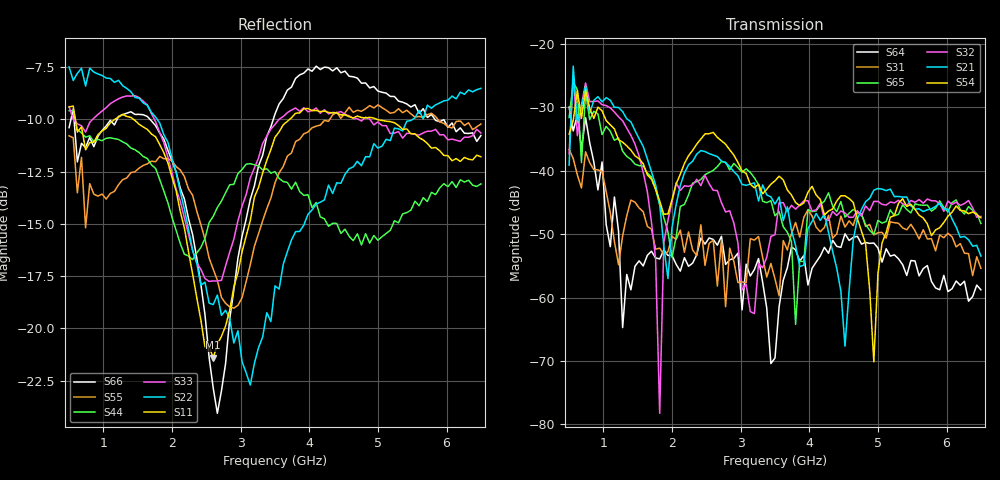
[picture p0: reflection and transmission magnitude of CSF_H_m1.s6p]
!Keysight Technologies,M9804A,MY58100912,A.14.10.03
!Date: Thursday, April 27, 2023 10:28:33
!Correction: S11(C  6-Port  )
!S12(C  6-Port  )
!S13(C  6-Port  )
!S14(C  6-Port  )
!S15(C  6-Port  )
!S16(C  6-Port  )
!S21(C  6-Port  )
!S22(C  6-Port  )
!S23(C  6-Port  )
!S24(C  6-Port  )
!S25(C  6-Port  )
!S26(C  6-Port  )
!S31(C  6-Port  )
!S32(C  6-Port  )
!S33(C  6-Port  )
!S34(C  6-Port  )
!S35(C  6-Port  )
!S36(C  6-Port  )
!S41(C  6-Port  )
!S42(C  6-Port  )
!S43(C  6-Port  )
!S44(C  6-Port  )
!S45(C  6-Port  )
!S46(C  6-Port  )
!S51(C  6-Port  )
!S52(C  6-Port  )
!S53(C  6-Port  )
!S54(C  6-Port  )
!S55(C  6-Port  )
!S56(C  6-Port  )
!S61(C  6-Port  )
!S62(C  6-Port  )
!S63(C  6-Port  )
!S64(C  6-Port  )
!S65(C  6-Port  )
!S66(C  6-Port  )
!S6P File: Measurement: :
# Hz S  RI  R 50
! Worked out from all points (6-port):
!   101 points, 500 MHz to 6.5 GHz, reference 50 ohm
!   strongest paths, dB at 500 MHz, 2 GHz, 3.5 GHz, 5 GHz, 6.5 GHz:
!     S54: -34.3, -44.6, -41.6, -56.3, -47.4
!     S21: -39.1, -48.9, -45.3, -42.8, -53.5
!     S32: -37.3, -44.9, -50.1, -44.9, -47.2
!     S65: -31.7, -53.7, -47.1, -47.8, -48.3
!     S31: -36.7, -50.4, -57.1, -49.8, -55.4
!     S64: -30.0, -53.4, -69.5, -52.2, -58.8
!   lowest |S11| = -21.4 dB at 2.6 GHz (marker M1), VSWR 1.19, Z = 42.4 + j2.21 ohm
!   |S11| at or under -10 dB: 590.6 MHz to 1.168 GHz (577.1 MHz wide, 65.6 % of centre); 1.438 GHz to 3.714 GHz (2.275 GHz wide, 88.3 % of centre); 4.985 GHz to end of sweep
